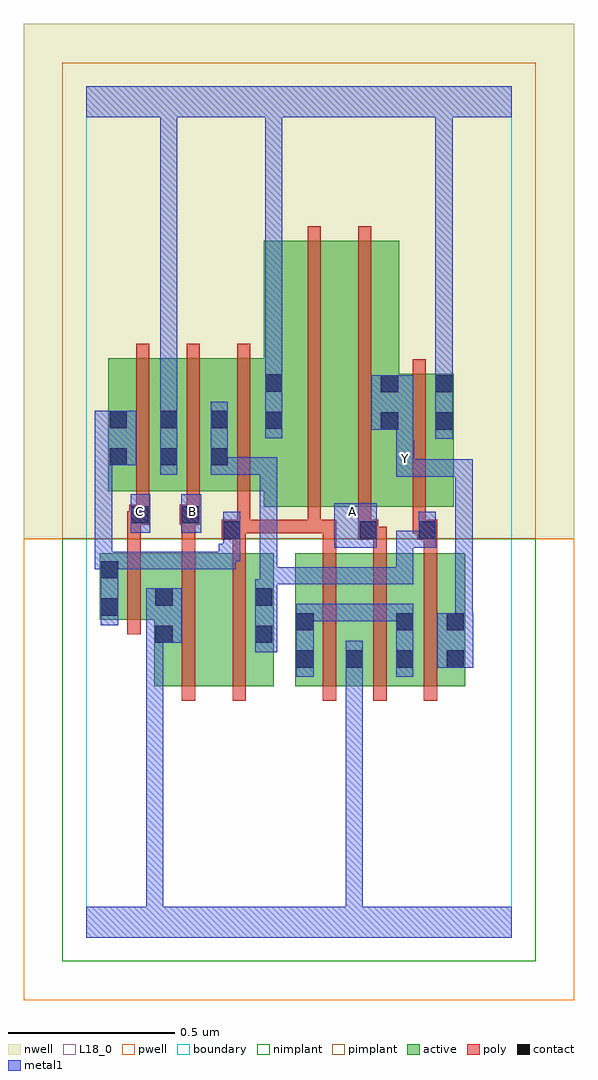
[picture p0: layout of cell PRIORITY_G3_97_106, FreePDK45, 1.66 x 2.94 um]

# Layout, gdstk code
import gdstk
lib = gdstk.Library(unit=1e-6, precision=1e-09)
def R(c, l, rs):  # rectangles x0, y0, x1, y1
    for r in rs: c.add(gdstk.rectangle(r[:2], r[2:], *l))
def A(c, l, x, y, w, h, nx, ny, dx, dy):  # array of equal rectangles
    R(c, l, [(x+i*dx, y+j*dy, x+i*dx+w, y+j*dy+h) for i in range(nx) for j in range(ny)])
active = (1, 0)
pwell = (2, 0)
nwell = (3, 0)
nimplant = (4, 0)
pimplant = (5, 0)
poly = (9, 0)
contact = (10, 0)
metal1 = (11, 0)
L18_0 = (18, 0)
boundary = (235, 0)

priority_g3_97_106 = lib.new_cell('PRIORITY_G3_97_106')
A(priority_g3_97_106, active, 0.776, 0.756, 0.06, 0.4, 3, 1, 0.152, 0)
R(priority_g3_97_106, active, [(0.204,0.756,0.384,1.156), (0.384,0.756,0.564,1.156), (0.504,0.756,0.564,1.156), (0.628,0.756,0.688,1.156), (0.628,0.756,0.836,1.156), (0.776,0.756,0.988,1.156), (0.928,0.756,1.14,1.156), (0.204,0.882,0.264,1.09), (0.04,0.956,0.264,1.156), (0.04,0.956,0.1,1.156), (0.534,1.296,0.762,2.096), (0.762,1.296,0.942,2.096), (0.882,1.296,1.106,1.696), (1.046,1.296,1.106,1.696), (0.066,1.342,0.126,1.742), (0.066,1.342,0.278,1.742), (0.218,1.342,0.43,1.742), (0.37,1.342,0.594,1.742), (0.882,1.382,0.942,2.064), (0.218,1.416,0.278,1.644), (0.37,1.416,0.43,1.644), (0.534,1.472,0.594,1.698)])
R(priority_g3_97_106, pwell, [(-0.188,-0.188,1.468,1.2)])
R(priority_g3_97_106, nwell, [(-0.188,1.2,1.468,2.748)])
R(priority_g3_97_106, nimplant, [(-0.072,-0.072,1.352,1.2)])
R(priority_g3_97_106, pimplant, [(-0.072,1.2,1.352,2.632)])
A(priority_g3_97_106, poly, 0.712, 0.712, 0.04, 0.488, 3, 1, 0.152, 0)
A(priority_g3_97_106, poly, 0.15, 1.298, 0.04, 0.488, 3, 1, 0.152, 0)
R(priority_g3_97_106, poly, [(0.288,0.712,0.328,1.2), (0.44,0.712,0.48,1.2), (0.124,0.912,0.164,1.2), (0.124,1.16,0.164,1.282), (0.288,1.16,0.328,1.282), (0.44,1.16,0.48,1.236), (0.712,1.16,0.752,1.256), (0.864,1.16,0.904,1.236), (1.016,1.16,1.056,1.236), (0.408,1.196,0.48,1.256), (0.818,1.196,0.878,1.256), (0.838,1.196,0.878,1.236), (0.838,1.196,0.904,1.236), (0.996,1.196,1.056,1.256), (0.44,1.216,0.48,1.256), (0.44,1.216,0.494,1.256), (0.454,1.216,0.494,1.256), (0.454,1.216,0.494,1.256), (0.454,1.216,0.706,1.256), (0.454,1.216,0.494,1.338), (0.666,1.216,0.706,1.292), (0.666,1.216,0.706,1.256), (0.666,1.216,0.706,1.256), (0.666,1.216,0.716,1.256), (0.676,1.216,0.716,1.256), (0.676,1.216,0.752,1.256), (0.818,1.216,0.858,1.292), (0.982,1.216,1.022,1.292), (0.982,1.216,1.036,1.256), (0.996,1.216,1.036,1.256), (0.124,1.242,0.17,1.282), (0.13,1.242,0.17,1.282), (0.13,1.242,0.19,1.302), (0.282,1.242,0.342,1.302), (0.288,1.242,0.328,1.282), (0.288,1.242,0.328,1.282), (0.666,1.252,0.706,2.14), (0.818,1.252,0.858,2.14), (0.982,1.252,1.022,1.74), (0.15,1.262,0.19,1.338), (0.302,1.262,0.342,1.338)])
A(priority_g3_97_106, contact, 0.78, 0.812, 0.052, 0.052, 3, 1, 0.152, 0)
A(priority_g3_97_106, contact, 0.07, 1.42, 0.052, 0.052, 3, 2, 0.152, 0.112)
R(priority_g3_97_106, contact, [(0.632,0.812,0.684,0.864), (0.208,0.886,0.26,0.938), (0.508,0.886,0.56,0.938), (0.632,0.924,0.684,0.976), (0.932,0.924,0.984,0.976), (1.084,0.924,1.136,0.976), (0.044,0.968,0.096,1.02), (0.208,0.998,0.26,1.05), (0.508,0.998,0.56,1.05), (0.044,1.08,0.096,1.132), (0.412,1.2,0.464,1.252), (0.822,1.2,0.874,1.252), (1,1.2,1.052,1.252), (0.134,1.246,0.186,1.298), (0.286,1.246,0.338,1.298), (0.886,1.528,0.938,1.58), (1.05,1.528,1.102,1.58), (0.538,1.53,0.59,1.582), (0.886,1.64,0.938,1.692), (1.05,1.64,1.102,1.692), (0.538,1.642,0.59,1.694)])
R(priority_g3_97_106, metal1, [(0,0,1.28,0.092), (0.18,0.04,0.232,0.092), (0.18,0.04,0.232,0.092), (0.18,0.04,0.232,0.092), (0.18,0.04,0.232,0.092), (0.18,0.04,0.232,0.092), (0.18,0.04,0.232,0.092), (0.18,0.04,0.232,0.092), (0.18,0.04,0.232,0.092), (0.18,0.04,0.232,0.092), (0.18,0.04,0.232,0.092), (0.18,0.04,0.232,0.092), (0.18,0.04,0.232,0.092), (0.18,0.04,0.232,0.938), (0.78,0.04,0.832,0.092), (0.78,0.04,0.832,0.092), (0.78,0.04,0.832,0.092), (0.78,0.04,0.832,0.092), (0.78,0.04,0.832,0.092), (0.78,0.04,0.832,0.092), (0.78,0.04,0.832,0.092), (0.78,0.04,0.832,0.092), (0.78,0.04,0.832,0.092), (0.78,0.04,0.832,0.092), (0.78,0.04,0.832,0.092), (0.78,0.04,0.832,0.092), (0.78,0.04,0.832,0.836), (0.632,0.784,0.684,1.004), (0.78,0.784,0.832,0.892), (0.932,0.784,0.984,1.004), (1.056,0.812,1.164,0.976), (0.508,0.858,0.574,1.078), (0.18,0.886,0.288,1.05), (1.11,0.924,1.162,1.438), (0.044,0.94,0.096,1.16), (0.632,0.952,0.684,1.004), (0.632,0.952,0.684,1.004), (0.632,0.952,0.8,1.004), (0.748,0.952,0.8,1.004), (0.748,0.952,0.8,1.004), (0.748,0.952,0.8,1.004), (0.748,0.952,0.984,1.004), (0.522,1.026,0.574,1.114), (0.522,1.062,0.574,1.114), (0.522,1.062,0.688,1.114), (0.522,1.062,0.574,1.444), (0.636,1.062,0.688,1.114), (0.636,1.062,0.688,1.114), (0.636,1.062,0.688,1.114), (0.636,1.062,0.8,1.114), (0.748,1.062,0.8,1.114), (0.748,1.062,0.8,1.114), (0.748,1.062,0.8,1.114), (0.748,1.062,0.984,1.114), (0.932,1.062,0.984,1.224), (0.026,1.108,0.078,1.16), (0.026,1.108,0.078,1.16), (0.026,1.108,0.078,1.472), (0.026,1.108,0.096,1.16), (0.044,1.108,0.096,1.16), (0.044,1.108,0.096,1.16), (0.044,1.108,0.096,1.16), (0.044,1.108,0.316,1.16), (0.264,1.108,0.316,1.16), (0.264,1.108,0.316,1.16), (0.264,1.108,0.316,1.16), (0.264,1.108,0.45,1.16), (0.398,1.108,0.45,1.184), (0.398,1.132,0.464,1.184), (0.412,1.132,0.464,1.28), (0.746,1.172,0.874,1.306), (0.932,1.172,1.052,1.224), (1,1.172,1.052,1.28), (0.134,1.218,0.192,1.334), (0.286,1.218,0.346,1.334), (0.932,1.386,0.986,1.494), (0.934,1.386,1.162,1.438), (1.11,1.386,1.162,1.438), (1.11,1.386,1.162,1.438), (1.11,1.386,1.162,1.438), (1.11,1.386,1.162,1.438), (1.11,1.386,1.162,1.438), (0.222,1.392,0.274,1.612), (0.374,1.392,0.426,1.612), (0.374,1.392,0.574,1.444), (0.522,1.392,0.574,1.444), (0.522,1.392,0.574,1.444), (0.522,1.392,0.574,1.444), (0.522,1.392,0.574,1.444), (0.522,1.392,0.574,1.444), (0.026,1.42,0.15,1.584), (0.932,1.442,0.984,1.58), (1.05,1.5,1.102,1.72), (0.538,1.502,0.59,1.722), (0.858,1.528,0.984,1.692), (0.222,1.56,0.274,1.612), (0.222,1.56,0.274,1.612), (0.222,1.56,0.274,1.612), (0.222,1.56,0.274,1.612), (0.222,1.56,0.274,1.612), (0.222,1.56,0.274,1.612), (0.222,1.56,0.274,1.612), (0.222,1.56,0.274,1.612), (0.222,1.56,0.274,1.612), (0.222,1.56,0.274,1.612), (0.222,1.56,0.274,2.52), (1.05,1.668,1.102,1.72), (1.05,1.668,1.102,1.72), (1.05,1.668,1.102,1.722), (0.538,1.67,0.59,2.52), (1.05,1.67,1.102,1.722), (1.05,1.67,1.102,1.722), (1.05,1.67,1.102,1.722), (1.05,1.67,1.102,2.52), (0,2.468,1.28,2.56), (0.222,2.468,0.274,2.52), (0.222,2.468,0.274,2.52), (0.222,2.468,0.274,2.52), (0.222,2.468,0.274,2.52), (0.222,2.468,0.274,2.52), (0.222,2.468,0.274,2.52), (0.538,2.468,0.59,2.52), (0.538,2.468,0.59,2.52), (0.538,2.468,0.59,2.52), (0.538,2.468,0.59,2.52), (0.538,2.468,0.59,2.52), (0.538,2.468,0.59,2.52), (0.538,2.468,0.59,2.52), (0.538,2.468,0.59,2.52), (1.05,2.468,1.102,2.52), (1.05,2.468,1.102,2.52), (1.05,2.468,1.102,2.52), (1.05,2.468,1.102,2.52), (1.05,2.468,1.102,2.52), (1.05,2.468,1.102,2.52), (1.05,2.468,1.102,2.52), (1.05,2.468,1.102,2.52), (1.05,2.468,1.102,2.52), (1.05,2.468,1.102,2.52)])
R(priority_g3_97_106, L18_0, [(0,0,1.28,0.092), (0.18,0.04,0.232,0.092), (0.18,0.04,0.232,0.092), (0.18,0.04,0.232,0.092), (0.18,0.04,0.232,0.092), (0.18,0.04,0.232,0.092), (0.18,0.04,0.232,0.092), (0.18,0.04,0.232,0.092), (0.18,0.04,0.232,0.092), (0.18,0.04,0.232,0.092), (0.18,0.04,0.232,0.092), (0.18,0.04,0.232,0.092), (0.18,0.04,0.232,0.092), (0.18,0.04,0.232,0.938), (0.78,0.04,0.832,0.092), (0.78,0.04,0.832,0.092), (0.78,0.04,0.832,0.092), (0.78,0.04,0.832,0.092), (0.78,0.04,0.832,0.092), (0.78,0.04,0.832,0.092), (0.78,0.04,0.832,0.092), (0.78,0.04,0.832,0.092), (0.78,0.04,0.832,0.092), (0.78,0.04,0.832,0.092), (0.78,0.04,0.832,0.092), (0.78,0.04,0.832,0.092), (0.78,0.04,0.832,0.836), (0.78,0.784,0.832,0.892), (1.056,0.812,1.164,0.976), (0.18,0.886,0.288,1.05), (1.11,0.924,1.162,1.438), (0.746,1.172,0.874,1.306), (0.134,1.218,0.192,1.334), (0.286,1.218,0.346,1.334), (0.134,1.254,0.186,1.306), (0.294,1.254,0.346,1.306), (0.774,1.254,0.826,1.306), (0.932,1.386,0.986,1.494), (0.934,1.386,1.162,1.438), (1.11,1.386,1.162,1.438), (1.11,1.386,1.162,1.438), (1.11,1.386,1.162,1.438), (1.11,1.386,1.162,1.438), (1.11,1.386,1.162,1.438), (0.222,1.392,0.274,1.612), (0.934,1.414,0.986,1.466), (0.932,1.442,0.984,1.58), (1.05,1.5,1.102,1.72), (0.538,1.502,0.59,1.722), (0.858,1.528,0.984,1.692), (0.222,1.56,0.274,1.612), (0.222,1.56,0.274,1.612), (0.222,1.56,0.274,1.612), (0.222,1.56,0.274,1.612), (0.222,1.56,0.274,1.612), (0.222,1.56,0.274,1.612), (0.222,1.56,0.274,1.612), (0.222,1.56,0.274,1.612), (0.222,1.56,0.274,1.612), (0.222,1.56,0.274,1.612), (0.222,1.56,0.274,2.52), (1.05,1.668,1.102,1.72), (1.05,1.668,1.102,1.72), (1.05,1.668,1.102,1.722), (0.538,1.67,0.59,2.52), (1.05,1.67,1.102,1.722), (1.05,1.67,1.102,1.722), (1.05,1.67,1.102,1.722), (1.05,1.67,1.102,2.52), (0,2.468,1.28,2.56), (0.222,2.468,0.274,2.52), (0.222,2.468,0.274,2.52), (0.222,2.468,0.274,2.52), (0.222,2.468,0.274,2.52), (0.222,2.468,0.274,2.52), (0.222,2.468,0.274,2.52), (0.538,2.468,0.59,2.52), (0.538,2.468,0.59,2.52), (0.538,2.468,0.59,2.52), (0.538,2.468,0.59,2.52), (0.538,2.468,0.59,2.52), (0.538,2.468,0.59,2.52), (0.538,2.468,0.59,2.52), (0.538,2.468,0.59,2.52), (1.05,2.468,1.102,2.52), (1.05,2.468,1.102,2.52), (1.05,2.468,1.102,2.52), (1.05,2.468,1.102,2.52), (1.05,2.468,1.102,2.52), (1.05,2.468,1.102,2.52), (1.05,2.468,1.102,2.52), (1.05,2.468,1.102,2.52), (1.05,2.468,1.102,2.52), (1.05,2.468,1.102,2.52)])
R(priority_g3_97_106, boundary, [(0,0,1.28,2.56)])
priority_g3_97_106.add(gdstk.Label('A', (0.8,1.28), layer=11, texttype=0))
priority_g3_97_106.add(gdstk.Label('B', (0.32,1.28), layer=11, texttype=0))
priority_g3_97_106.add(gdstk.Label('C', (0.16,1.28), layer=11, texttype=0))
priority_g3_97_106.add(gdstk.Label('Y', (0.96,1.44), layer=11, texttype=0))

lib.write_gds('PRIORITY_G3_97_106.gds')
